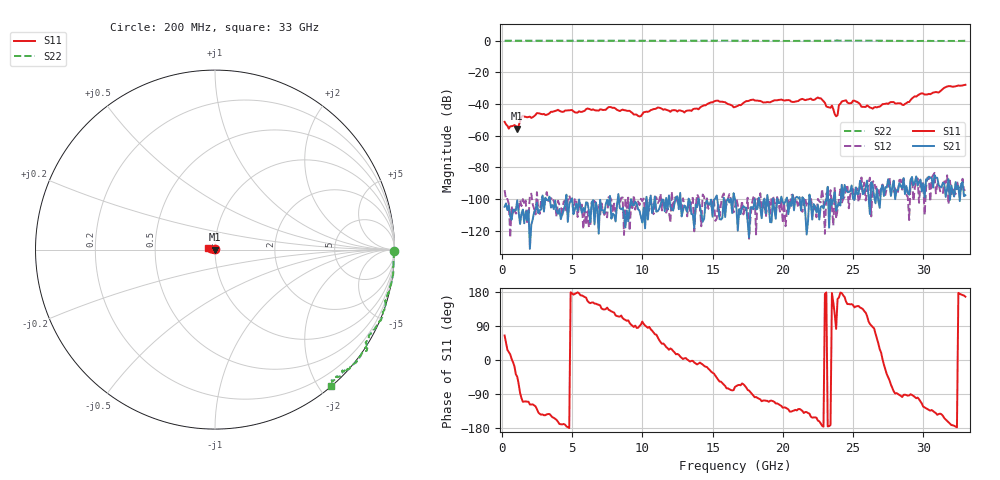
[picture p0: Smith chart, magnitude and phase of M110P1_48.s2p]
# GHZ S RI R 50
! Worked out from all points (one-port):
!   329 points, 200 MHz to 33 GHz, reference 50 ohm
!   lowest |S11| = -55.6 dB at 1.1 GHz (marker M1), VSWR 1.00, Z = 50.1 - j0.116 ohm
!   |S11| at or under -10 dB: start of sweep to end of sweep
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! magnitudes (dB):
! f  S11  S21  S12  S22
! 200 MHz  -51.3  -105.0  -94.4  0.0
! 500 MHz  -55.6  -104.1  -103.0  0.0
! 1.1 GHz  -55.6  -100.9  -108.9  0.0
! 1.5 GHz  -47.5  -106.7  -100.1  0.0
! 5.7 GHz  -45.0  -108.8  -103.5  0.0
! 7.7 GHz  -41.9  -98.1  -98.9  0.0
! 9.8 GHz  -47.8  -107.5  -104.0  0.0
! 11.2 GHz  -42.4  -106.3  -101.2  -0.1
! 13 GHz  -45.4  -104.2  -104.7  0.0
! 15.4 GHz  -37.9  -104.6  -102.6  0.0
! 16.6 GHz  -41.9  -100.2  -104.9  0.0
! 17.9 GHz  -37.2  -106.6  -99.0  0.0
! 22.1 GHz  -37.4  -113.1  -105.8  -0.1
! 23.5 GHz  -41.0  -103.6  -106.0  0.0
! 23.8 GHz  -47.8  -107.5  -112.5  0.1
! 24 GHz  -40.7  -102.6  -99.9  0.0
! 24.3 GHz  -38.1  -99.6  -100.1  0.0
! 26.4 GHz  -42.9  -91.3  -89.1  0.1
! 27.6 GHz  -39.2  -90.6  -86.5  0.0
! 28.6 GHz  -40.7  -86.9  -87.1  -0.1
! 29.8 GHz  -33.5  -87.8  -90.1  -0.2
! 33 GHz  -27.9  -97.7  -94.3  0.0
